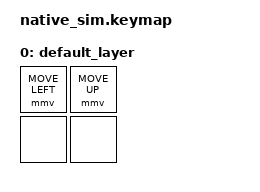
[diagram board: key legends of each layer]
#include <input/processors.dtsi>
#include <behaviors.dtsi>
#include <dt-bindings/zmk/keys.h>
#include <dt-bindings/zmk/kscan_mock.h>
#include <dt-bindings/zmk/pointing.h>

&mmv_input_listener {
    input-processors = <&zip_xy_swap_mapper>;
};

/ {
    keymap {
        compatible = "zmk,keymap";
        label ="Default keymap";

        default_layer {
            bindings = <
                &mmv MOVE_LEFT &mmv MOVE_UP
                &none &none
            >;
        };
    };
};


&kscan {
    events = <
        ZMK_MOCK_PRESS(0,0,10)
        ZMK_MOCK_PRESS(0,1,100)
        ZMK_MOCK_RELEASE(0,0,10)
        ZMK_MOCK_RELEASE(0,1,10)
    >;
};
